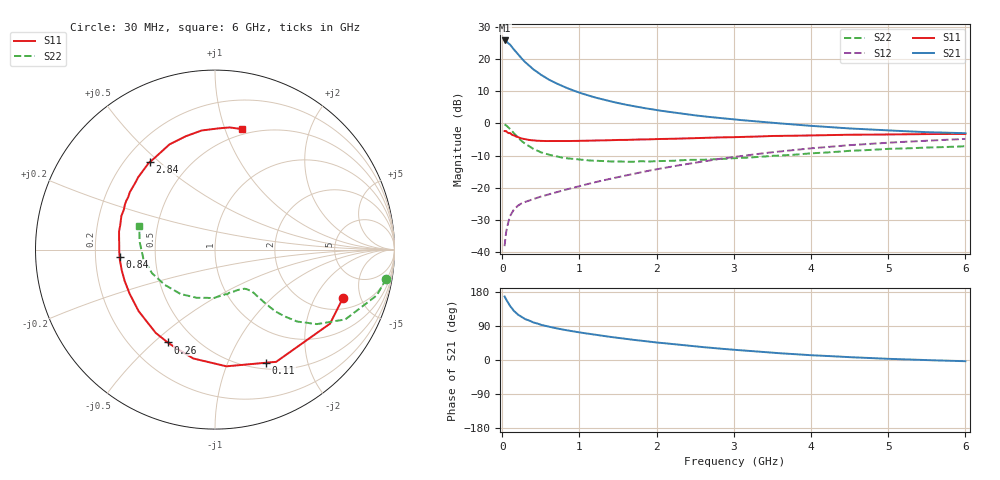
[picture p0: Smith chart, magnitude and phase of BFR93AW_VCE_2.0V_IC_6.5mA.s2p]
! (c) 2015  Infineon Technologies AG, Munich
! Infineon Technologies  Discrete & RF Semiconductors
! BFR93AW
! VCE =  2.0 V,  IC =  6.5 mA
! Common Emitter S-Parameters:  Nov 2015
# GHz  S  MA  R  50
!  f  S11  S21  S12  S22
! GHz  MAG  ANG  MAG  ANG  MAG  ANG  MAG  ANG
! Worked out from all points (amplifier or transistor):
!   206 points, 30 MHz to 6 GHz, reference 50 ohm
!   highest |S21| = 25.9 dB at 30 MHz (marker M1)
!   |S21| within 3 dB of that: start of sweep to 157.2 MHz
!   unconditionally stable (mu >= 1): 852.6 MHz to 2.435 GHz
!   at 200 MHz: K = 0.37, MSG = 23.7 dB, |S12| = -25.7 dB
!   at 1.56 GHz: K = 1.09, MAG = 9.4 dB, |S12| = -16.4 dB
!   at 6 GHz: K = 0.95, MSG = 0.9 dB, |S12| = -4.8 dB
!   S11 on the Smith chart (normalised r, x): 30 MHz: 2.69, -3.47; 110 MHz: 0.57, -1.39; 260 MHz: 0.36, -0.55; 840 MHz: 0.31, -0.04; 2.84 GHz: 0.30, +0.46; 6 GHz: 0.45, +1.14
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0.03  0.762 -20.8  19.74 167.7  0.0122 79.3  0.968 -9.6
0.05  0.7622 -32.8  19.35 159.4  0.0202 74.0  0.9367 -15.8
0.1  0.7121 -61.4  17.04 142.4  0.0359 62.2  0.8236 -28.2
0.11  0.6919 -65.6  16.43 140.2  0.0377 60.3  0.7983 -29.6
0.15  0.6534 -84.4  14.31 129.5  0.0454 54.1  0.7029 -36.2
0.2  0.6185 -101.3  12.12 120.2  0.0519 49.9  0.6088 -41.2
0.24  0.589 -112.1  10.68 114.7  0.0559 47.9  0.5477 -43.4
0.26  0.5805 -117.0  10.05 112.1  0.0575 47.2  0.5219 -44.3
0.3  0.5698 -125.4  8.973 107.6  0.06 46.6  0.4794 -45.7
0.4  0.5465 -141.2  7.018 99.3  0.0661 46.7  0.4032 -47.0
0.5  0.5355 -152.4  5.765 93.0  0.0724 47.4  0.355 -47.7
0.6  0.5329 -160.7  4.864 88.0  0.0781 49.5  0.3266 -48.1
0.7  0.5322 -167.5  4.23 83.6  0.0846 51.2  0.3066 -49.0
0.84  0.5329 -175.5  3.567 78.4  0.0941 53.7  0.2861 -50.9
1.04  0.5353 175.5  2.92 71.6  0.1084 56.6  0.27 -54.1
1.48  0.5533 160.6  2.108 58.9  0.1437 60.4  0.2565 -64.9
2.02  0.5728 145.5  1.603 45.8  0.1952 61.1  0.2592 -81.1
2.84  0.6076 126.8  1.209 29.7  0.2829 57.2  0.2798 -106.1
3.1  0.6158 121.2  1.129 25.6  0.3109 55.0  0.2901 -114.3
4.1  0.6545 102.7  0.902 11.7  0.4193 44.6  0.347 -148.2
5.1  0.6759 88.2  0.77 2.5  0.5097 32.5  0.4046 -175.6
6  0.6877 77.5  0.706 -3.2  0.5749 22.1  0.4419 162.8
